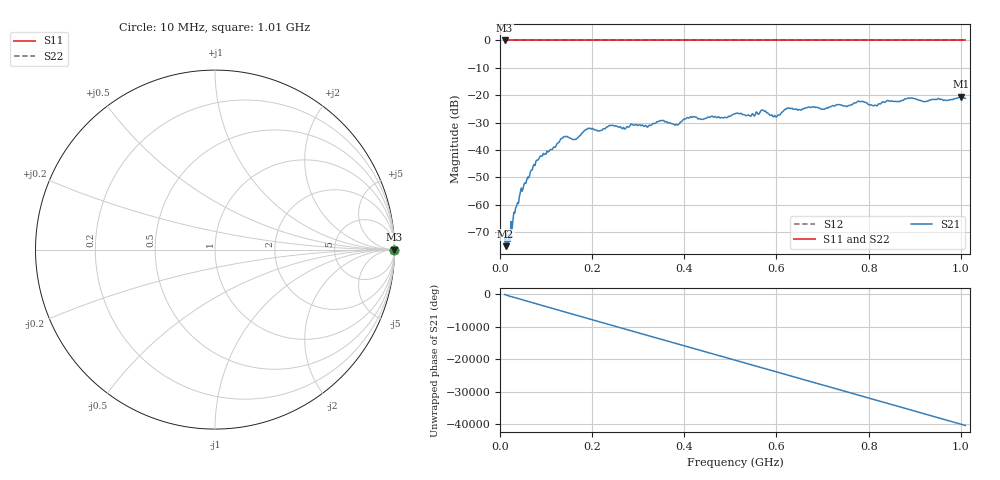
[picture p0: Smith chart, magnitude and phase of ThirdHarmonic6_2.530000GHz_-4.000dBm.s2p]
! 8/17/2025 5:02:17 AM
! C:\ANRITSUVNA\TEMP\TEMP.S2P
! CHANNEL.1
! TR.MEASUREMENT
! RAW.DATA
! RF.CORRECTION.OFF
! AVERAGING.OFF
! IF.BANDWIDTH: 5KHZ
! SWEEPTYPE:  FREQ.SWEEP(Linear)
! Reference Plane Port Info
! PORT:  PORT1  PORT2
! DISTANCE:  0  m  0  m
! TIME:  0  s  0  s
! PHASE.OFFSET:  0  deg.  0  deg.
! LOSS:  0  dB  0  dB
! REF.LOSS:  0  dB  0  dB
! REF.FREQ:  0  Hz  0  Hz
! Power Info
! POWER:  -20  dBm  -20  dBm
! EFF.POWER:  -20  dBm  -20  dBm
! SOURCE.ATTEN:  0  dB  0  dB
! TEST.ATTEN:  0  dB  0  dB
# GHZ S RI R 50.0
! FREQ.GHZ  S11RE  S11IM  S21RE  S21IM  S12RE  S12IM  S22RE  S22IM
!; PortSelection: Port_12
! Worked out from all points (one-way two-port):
!   501 points, 10 MHz to 1.01 GHz, reference 50 ohm
!   highest |S21| = -20.52 dB at 1 GHz (marker M1); lowest = -75.1 dB at 12 MHz (marker M2)
!   lowest |S11| = 0.0 dB at 10 MHz (marker M3)
!   |S11| at or under -10 dB: nowhere
!   |S22| runs from 0.0 to 0.0 dB; largest |S21 - S12| = 1.1
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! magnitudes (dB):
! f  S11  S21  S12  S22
! 10 MHz  0.0  -72.2  0.0  0.0
! 12 MHz  0.0  -75.1  0.0  0.0
! 20 MHz  0.0  -70.9  0.0  0.0
! 34 MHz  0.0  -61.1  0.0  0.0
! 48 MHz  0.0  -55.1  0.0  0.0
! 82 MHz  0.0  -43.7  0.0  0.0
! 136 MHz  0.0  -35.7  0.0  0.0
! 162 MHz  0.0  -36.1  0.0  0.0
! 178 MHz  0.0  -33.8  0.0  0.0
! 192 MHz  0.0  -32.0  0.0  0.0
! 322 MHz  0.0  -31.3  0.0  0.0
! 344 MHz  0.0  -29.6  0.0  0.0
! 384 MHz  0.0  -30.8  0.0  0.0
! 410 MHz  0.0  -28.4  0.0  0.0
! 510 MHz  0.0  -26.8  0.0  0.0
! 570 MHz  0.0  -25.4  0.0  0.0
! 596 MHz  0.0  -27.3  0.0  0.0
! 624 MHz  0.0  -24.7  0.0  0.0
! 678 MHz  0.0  -24.2  0.0  0.0
! 844 MHz  0.0  -22.1  0.0  0.0
! 1 GHz  0.0  -20.5  0.0  0.0
! 1.01 GHz  0.0  -21.1  0.0  0.0
